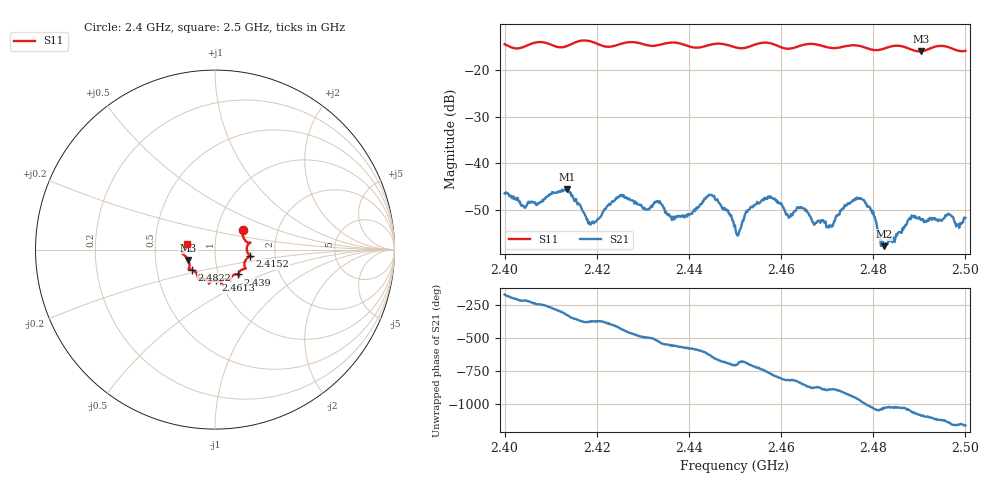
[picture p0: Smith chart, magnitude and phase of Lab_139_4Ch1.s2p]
# Hz S RI R 50
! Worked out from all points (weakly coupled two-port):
!   601 points, 2.4 GHz to 2.5 GHz, reference 50 ohm
!   highest |S21| = -45.61 dB at 2.4135 GHz (marker M1); lowest = -57.8 dB at 2.4823 GHz (marker M2)
!   lowest |S11| = -15.9 dB at 2.4903 GHz (marker M3), VSWR 1.38, Z = 36.8 - j4.42 ohm
!   |S11| at or under -10 dB: start of sweep to end of sweep
!   S12 and S22 are empty: the file has one direction only
!   S11 on the Smith chart (normalised r, x): 2.4 GHz: 1.33, +0.31; 2.4152 GHz: 1.48, -0.11; 2.439 GHz: 1.24, -0.36; 2.4613 GHz: 0.96, -0.34; 2.4822 GHz: 0.76, -0.17; 2.5 GHz: 0.72, +0.05
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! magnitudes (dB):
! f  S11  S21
! 2.4 GHz  -14.4  -46.5
! 2.4042 GHz  -14.9  -49.2
! 2.4135 GHz  -14.8  -45.6
! 2.4152 GHz  -14.1  -48.1
! 2.4167 GHz  -13.6  -49.6
! 2.419 GHz  -13.9  -52.8
! 2.425 GHz  -14.4  -46.9
! 2.4333 GHz  -14.6  -48.2
! 2.439 GHz  -14.5  -51.4
! 2.4448 GHz  -14.4  -46.8
! 2.45 GHz  -15.0  -53.3
! 2.4572 GHz  -14.1  -47.1
! 2.4613 GHz  -15.3  -50.9
! 2.4667 GHz  -14.3  -52.2
! 2.4707 GHz  -15.2  -53.5
! 2.477 GHz  -14.7  -47.6
! 2.4798 GHz  -15.6  -50.8
! 2.4822 GHz  -15.4  -57.2
! 2.4823 GHz  -15.3  -57.8
! 2.4833 GHz  -15.0  -56.5
! 2.4903 GHz  -15.9  -52.0
! 2.5 GHz  -15.8  -51.7
